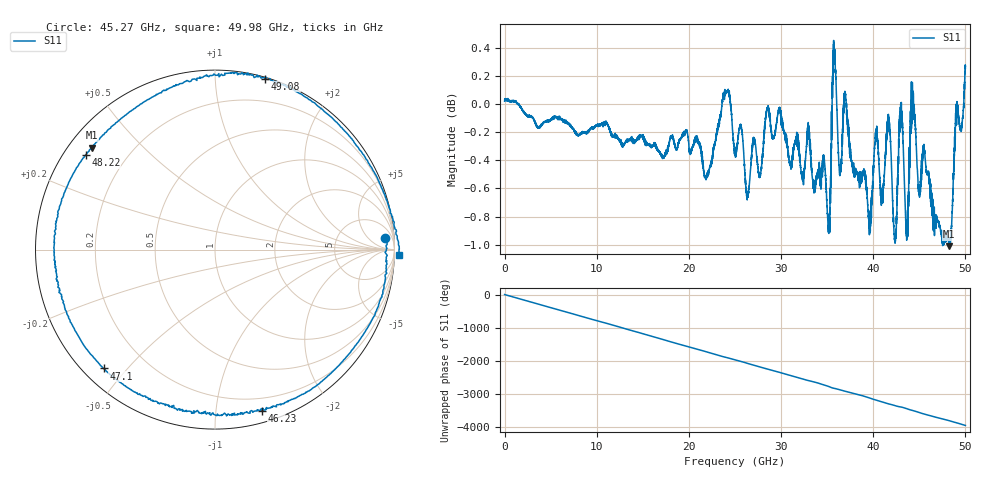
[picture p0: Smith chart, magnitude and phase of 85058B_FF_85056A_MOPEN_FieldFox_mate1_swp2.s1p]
!Created with skrf (http://scikit-rf.org).
# Hz S RI R 50.0
!freq ReS11 ImS11
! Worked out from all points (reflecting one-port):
!   10001 points, 300 kHz to 50 GHz, reference 50 ohm
!   lowest |S11| = -1.0 dB at 48.26 GHz (marker M1), VSWR 17.22, Z = 3.28 + j17.9 ohm
!   phase of S11 starts at 0 deg and turns -3963 deg over the sweep
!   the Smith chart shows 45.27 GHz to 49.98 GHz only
!   S11 on the Smith chart (normalised r, x): 45.27 GHz: 15, +19; 46.23 GHz: 0.09, -1.33; 47.1 GHz: 0.06, -0.43; 48.22 GHz: 0.06, +0.33; 49.08 GHz: 0.01, +1.34; 49.98 GHz: -36, -39
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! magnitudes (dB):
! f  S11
! 300 kHz  0.0
! 6.25 GHz  -0.1
! 12.5 GHz  -0.3
! 18.75 GHz  -0.3
! 21.93 GHz  -0.5
! 24.13 GHz  0.1
! 25 GHz  -0.3
! 31.25 GHz  -0.4
! 35.14 GHz  -0.9
! 35.79 GHz  0.4
! 36.36 GHz  -0.5
! 36.97 GHz  0.1
! 37.5 GHz  -0.3
! 39.6 GHz  -0.9
! 40.28 GHz  -0.2
! 41.67 GHz  -0.1
! 42.35 GHz  -1.0
! 43.01 GHz  0.0
! 43.75 GHz  -0.9
! 44.28 GHz  -0.1
! 45.27 GHz  -0.4
! 46.23 GHz  -0.6
! 47.1 GHz  -0.8
! 48.22 GHz  -1.0
! 48.26 GHz  -1.0
! 49.08 GHz  -0.1
! 49.98 GHz  0.2
! 50 GHz  0.3
